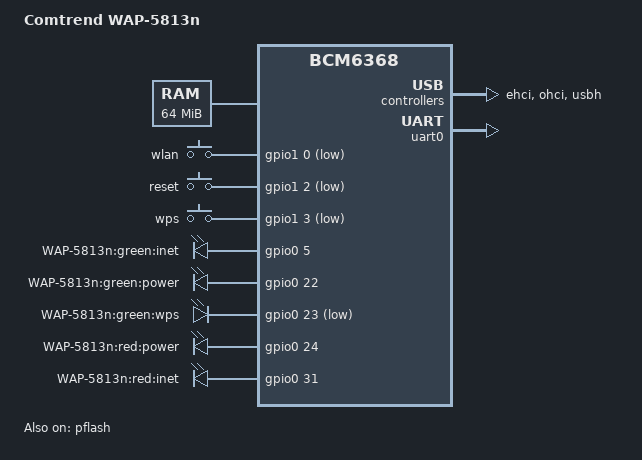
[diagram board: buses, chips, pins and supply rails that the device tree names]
/dts-v1/;

#include "bcm6368.dtsi"

/ {
	compatible = "comtrend,wap-5813n", "brcm,bcm6368";
	model = "Comtrend WAP-5813n";

	chosen {
		bootargs = "console=ttyS0,115200 earlycon";
	};

	aliases {
		led-boot = &power_green;
		led-failsafe = &power_red;
		led-running = &power_green;

		led-internet = &inet_green;
	};

	memory@0 {
		device_type = "memory";
		reg = <0x00000000 0x04000000>;
	};

	gpio-keys-polled {
		compatible = "gpio-keys-polled";
		#address-cells = <1>;
		#size-cells = <0>;
		poll-interval = <20>;
		debounce-interval = <60>;

		wlan {
			label = "wlan";
			gpios = <&gpio1 0 GPIO_ACTIVE_LOW>;
			linux,code = <KEY_WLAN>;
		};
		reset {
			label = "reset";
			gpios = <&gpio1 2 GPIO_ACTIVE_LOW>;
			linux,code = <KEY_RESTART>;
		};
		wps {
			label = "wps";
			gpios = <&gpio1 3 GPIO_ACTIVE_LOW>;
			linux,code = <KEY_WPS_BUTTON>;
		};
	};

	gpio-leds {
		compatible = "gpio-leds";

		inet_green: inet_green {
			label = "WAP-5813n:green:inet";
			gpios = <&gpio0 5 GPIO_ACTIVE_HIGH>;
		};
		power_green: power_green {
			label = "WAP-5813n:green:power";
			gpios = <&gpio0 22 GPIO_ACTIVE_HIGH>;
			default-state = "on";
		};
		wps_green {
			label = "WAP-5813n:green:wps";
			gpios = <&gpio0 23 GPIO_ACTIVE_LOW>;
		};
		power_red: power_red {
			label = "WAP-5813n:red:power";
			gpios = <&gpio0 24 GPIO_ACTIVE_HIGH>;
		};
		inet_red {
			label = "WAP-5813n:red:inet";
			gpios = <&gpio0 31 GPIO_ACTIVE_HIGH>;
		};
	};
};

&ehci {
	status = "ok";
};

&ohci {
	status = "ok";
};

&pflash {
	status = "ok";

	partitions {
		compatible = "fixed-partitions";
		#address-cells = <1>;
		#size-cells = <1>;

		cfe@0 {
			label = "CFE";
			reg = <0x000000 0x010000>;
			read-only;
		};
		firmware@10000 {
			label = "firmware";
			reg = <0x010000 0x7e0000>;
		};
		nvram@7f0000 {
			label = "nvram";
			reg = <0x7f0000 0x010000>;
			read-only;
		};
	};
};

&uart0 {
	status = "ok";
};

&usbh {
	status = "ok";
};
